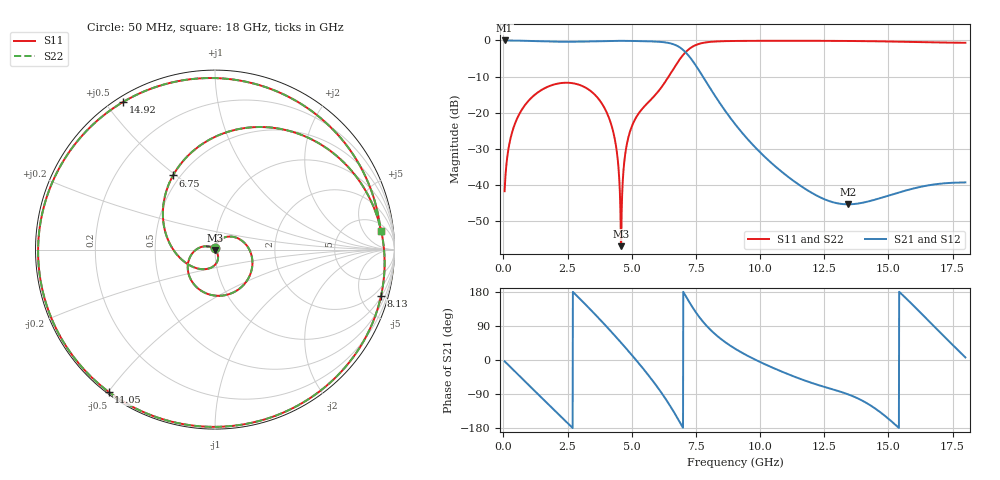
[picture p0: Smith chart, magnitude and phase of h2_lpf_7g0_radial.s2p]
! kicad2ems mom25d 2.5D MoM (f)
! ports: 1=P1, 2=P2
# Hz S RI R 50
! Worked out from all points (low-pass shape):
!   1796 points, 50 MHz to 18 GHz, reference 50 ohm
!   highest |S21| = 0.00 dB at 50 MHz (marker M1); lowest = -45.3 dB at 13.43 GHz (marker M2)
!   |S21| within 3 dB of the highest: start of sweep to 7.062 GHz
!   lowest |S11| = -56.9 dB at 4.59 GHz (marker M3), VSWR 1.00, Z = 50 - j0.138 ohm
!   |S11| at or under -10 dB: start of sweep to 6.438 GHz
!   |S22| runs from -56.6 to -0.1 dB; largest |S21 - S12| = 0
!   S11 on the Smith chart (normalised r, x): 50 MHz: 1.00, +0.02; 6.75 GHz: 0.46, +0.49; 8.13 GHz: 1.07, -7.14; 11.05 GHz: 0.01, -0.50; 14.92 GHz: 0.02, +0.55; 18 GHz: 8, +12
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5e7  0.00083 0.00819  0.9978 -0.0588  0.9978 -0.0588  0.00083 0.00819
4.7e8  0.0391 0.062  0.8484 -0.5204  0.8484 -0.5204  0.0391 0.062
1.45e9  0.2014 -0.0246  -0.1151 -0.968  -0.1151 -0.968  0.2014 -0.0246
2.31e9  0.115 -0.2321  -0.8593 -0.4266  -0.8593 -0.4266  0.1151 -0.232
3.05e9  -0.0928 -0.2179  -0.8858 0.3788  -0.8858 0.3788  -0.0927 -0.2179
4.15e9  -0.0774 0.0142  0.193 0.9669  0.193 0.9669  -0.0774 0.0142
4.4e9  -0.0291 0.0153  0.4941 0.8553  0.4941 0.8553  -0.0291 0.0153
4.59e9  -0.000375 -0.00138  0.692 0.7047  0.692 0.7047  -0.000394 -0.00142
4.96e9  0.0158 -0.0564  0.9428 0.2837  0.9428 0.2837  0.0158 -0.0564
5.48e9  -0.0531 -0.1088  0.8812 -0.4202  0.8812 -0.4202  -0.053 -0.1089
6.04e9  -0.1922 -0.0491  0.2481 -0.927  0.2481 -0.927  -0.1921 -0.0494
6.75e9  -0.2336 0.4133  -0.7312 -0.4321  -0.7312 -0.4321  -0.2341 0.413
7.3e9  0.449 0.6509  -0.4728 0.3115  -0.4728 0.3115  0.4484 0.6513
8.13e9  0.9251 -0.2585  0.0492 0.1927  0.0492 0.1927  0.9252 -0.2579
9.03e9  0.4668 -0.8657  0.0605 0.0345  0.0605 0.0345  0.4672 -0.8655
1.105e10  -0.5927 -0.7922  0.0108 -0.00792  0.0108 -0.00792  -0.5925 -0.7923
1.202e10  -0.8778 -0.455  0.00383 -0.0068  0.00383 -0.0068  -0.8777 -0.4552
1.343e10  -0.9654 0.1883  -5.55e-05 -0.00543  -5.55e-05 -0.00543  -0.9654 0.1879
1.492e10  -0.5129 0.8221  -0.0061 -0.00347  -0.0061 -0.00347  -0.5132 0.8219
1.501e10  -0.4665 0.8478  -0.00653 -0.00298  -0.00653 -0.00298  -0.4669 0.8476
1.634e10  0.3373 0.8846  -0.00465 0.00841  -0.00465 0.00841  0.3368 0.8848
1.8e10  0.9224 0.1059  0.0108 0.00129  0.0108 0.00129  0.9223 0.1064
